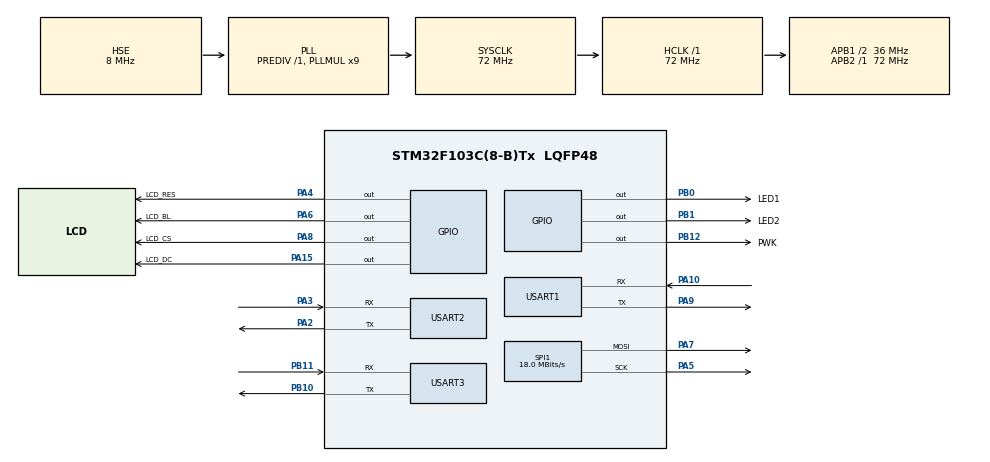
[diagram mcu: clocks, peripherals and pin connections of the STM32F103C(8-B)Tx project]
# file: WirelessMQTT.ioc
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Dma.Request0=SPI1_TX
Dma.SPI1_TX.0.Direction=DMA_MEMORY_TO_PERIPH
Dma.SPI1_TX.0.Instance=DMA1_Channel3
Dma.SPI1_TX.0.MemDataAlignment=DMA_MDATAALIGN_BYTE
Dma.SPI1_TX.0.MemInc=DMA_MINC_ENABLE
Dma.SPI1_TX.0.Mode=DMA_NORMAL
Dma.SPI1_TX.0.PeriphDataAlignment=DMA_PDATAALIGN_BYTE
Dma.SPI1_TX.0.PeriphInc=DMA_PINC_DISABLE
Dma.SPI1_TX.0.Priority=DMA_PRIORITY_LOW
Mcu.Family=STM32F1
Mcu.Name=STM32F103C(8-B)Tx
Mcu.Package=LQFP48
NVIC.DMA1_Channel3_IRQn=true\:0\:0\:false\:false\:true\:false\:true
NVIC.PriorityGroup=NVIC_PRIORITYGROUP_4
NVIC.TIM3_IRQn=true\:1\:0\:true\:false\:true\:true\:true
NVIC.USART1_IRQn=true\:2\:0\:true\:false\:true\:true\:true
NVIC.USART2_IRQn=true\:0\:0\:false\:false\:true\:true\:true
NVIC.USART3_IRQn=true\:0\:0\:false\:false\:true\:true\:true
PA10.Mode=Asynchronous
PA10.Signal=USART1_RX
PA13.Mode=Serial_Wire
PA13.Signal=SYS_JTMS-SWDIO
PA14.Mode=Serial_Wire
PA14.Signal=SYS_JTCK-SWCLK
PA15.GPIO_Label=LCD_DC
PA15.Signal=GPIO_Output
PA2.Mode=Asynchronous
PA2.Signal=USART2_TX
PA3.Mode=Asynchronous
PA3.Signal=USART2_RX
PA4.GPIO_Label=LCD_RES
PA4.Signal=GPIO_Output
PA5.Mode=TX_Only_Simplex_Unidirect_Master
PA5.Signal=SPI1_SCK
PA6.GPIO_Label=LCD_BL
PA6.Signal=GPIO_Output
PA7.Mode=TX_Only_Simplex_Unidirect_Master
PA7.Signal=SPI1_MOSI
PA8.GPIO_Label=LCD_CS
PA8.Signal=GPIO_Output
PA9.Mode=Asynchronous
PA9.Signal=USART1_TX
PB0.GPIO_Label=LED1
PB0.Signal=GPIO_Output
PB1.GPIO_Label=LED2
PB1.Signal=GPIO_Output
PB10.Mode=Asynchronous
PB10.Signal=USART3_TX
PB11.Mode=Asynchronous
PB11.Signal=USART3_RX
PB12.GPIO_Label=PWK
PB12.Signal=GPIO_Output
PC14-OSC32_IN.Mode=LSE-External-Oscillator
PC14-OSC32_IN.Signal=RCC_OSC32_IN
PC15-OSC32_OUT.Mode=LSE-External-Oscillator
PC15-OSC32_OUT.Signal=RCC_OSC32_OUT
PD0-OSC_IN.Mode=HSE-External-Oscillator
PD0-OSC_IN.Signal=RCC_OSC_IN
PD1-OSC_OUT.Mode=HSE-External-Oscillator
PD1-OSC_OUT.Signal=RCC_OSC_OUT
ProjectManager.HeapSize=0x200
ProjectManager.StackSize=0x400
ProjectManager.TargetToolchain=MDK-ARM V5
RCC.AHBFreq_Value=72000000
RCC.APB1CLKDivider=RCC_HCLK_DIV2
RCC.APB1Freq_Value=36000000
RCC.APB1TimFreq_Value=72000000
RCC.APB2Freq_Value=72000000
RCC.APB2TimFreq_Value=72000000
RCC.HCLKFreq_Value=72000000
RCC.PLLMUL=RCC_PLL_MUL9
RCC.PLLSourceVirtual=RCC_PLLSOURCE_HSE
RCC.SYSCLKFreq_VALUE=72000000
RCC.SYSCLKSource=RCC_SYSCLKSOURCE_PLLCLK
RCC.USBFreq_Value=72000000
SPI1.BaudRatePrescaler=SPI_BAUDRATEPRESCALER_4
SPI1.CLKPhase=SPI_PHASE_2EDGE
SPI1.CLKPolarity=SPI_POLARITY_HIGH
SPI1.CalculateBaudRate=18.0 MBits/s
SPI1.Direction=SPI_DIRECTION_2LINES
SPI1.Mode=SPI_MODE_MASTER
SPI1.VirtualType=VM_MASTER
TIM3.Period=999
TIM3.Prescaler=71
USART1.VirtualMode=VM_ASYNC
USART2.VirtualMode=VM_ASYNC
USART3.VirtualMode=VM_ASYNC
VP_TIM3_VS_ClockSourceINT.Mode=Internal
board=custom

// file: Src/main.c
/* USER CODE BEGIN Header */
/**
  ******************************************************************************
  * @file           : main.c
  * @brief          : Main program body
  ******************************************************************************
  * @attention
  *
  * <h2><center>&copy; Copyright (c) 2022 STMicroelectronics.
  * All rights reserved.</center></h2>
  *
  * This software component is licensed by ST under BSD 3-Clause license,
  * the "License"; You may not use this file except in compliance with the
  * License. You may obtain a copy of the License at:
  *                        opensource.org/licenses/BSD-3-Clause
  *
  ******************************************************************************
  */
/* USER CODE END Header */
#include "main.h"
#include "dma.h"
#include "spi.h"
#include "tim.h"
#include "usart.h"
#include "gpio.h"

/* USER CODE BEGIN Includes */
#include "misc.h"
#include "at_command.h"
#include "mqtt_app.h"
#include "my_lcd.h"
#include "my_lcd_init.h"
#include <stdio.h>
#include <stdlib.h>
#include "gui.h"
#include "pic.h"
#include "bsp_bh1750.h"
#include "bsp_sgp30.h"
#include "24l01.h"
/* USER CODE END Includes */

/* USER CODE BEGIN PTD */
#define printf(...)
/* USER CODE END PTD */

void SystemClock_Config(void);
/* USER CODE BEGIN PFP */

mqtt_app_t  mqttAppObj;
uint16_t timer_1s=1000;
uint8_t timer_100ms=100;
uint8_t timer_10ms=10;

uint32_t timer=0;

uint32_t systick=0;
u8 tmp_buf[6];
/* USER CODE END PFP */

int main(void)
{
  /* USER CODE BEGIN 1 */
   uint8_t data=3;

  /* USER CODE END 1 */

  /* MCU Configuration--------------------------------------------------------*/

  /* Reset of all peripherals, Initializes the Flash interface and the Systick. */
  HAL_Init();

  /* Configure the system clock */
  SystemClock_Config();

  /* Initialize all configured peripherals */
  MX_GPIO_Init();

  MX_DMA_Init();
  MX_USART1_UART_Init();
  MX_USART2_UART_Init();
  MX_USART3_UART_Init();
  MX_TIM3_Init();
  MX_SPI1_Init();

  /* USER CODE BEGIN 2 */

    printf("system start......\r\n");
    dwt_init();

    iic_ll_init();

    GUI_Init();  //初始化
    GUI_SetBkColor(GUI_WHITE);

    GUI_Clear();
    //GUI_DispStringAt("hello ucGUI",0,0);
    //GUI_DispChars('*',30);

    LCD_ShowPicture(0,0,120,160,gImage_background);
//    LCD_ShowPicture(64,10,32,32,gImage_signal);
//    LCD_ShowPicture(10,90,32,32,gImage_planet);
//    LCD_ShowPicture(64,90,20,20,gImage_tree);
//    GUI_Delay(5000);

//    LCD_ShowPicture(0,0,20,20,gImage_lte_signal);
//    LCD_ShowPicture(40,0,20,20,gImage_wifi_signal);

    //GUI_SetBkColor(GUI_GREEN);
    //GUI_Clear();

    //draw lte logo
    GUI_SetPenSize(4);
    GUI_SetColor(GUI_BLACK);
    GUI_DrawLine(1,16,1,20);
    GUI_DrawLine(6,12,6,20);
    GUI_DrawLine(11,6,11,20);
    GUI_DrawLine(16,1,16,20);

    //draw wifi logo
    GUI_SetPenSize(2);
    GUI_DrawArc(50,20,1,1,60,120);
    GUI_DrawArc(50,20,6,6,60,120);
    GUI_DrawArc(50,20,12,12,60,120);
    GUI_DrawArc(50,20,17,17,60,120);

    GUI_SetBkColor(GUI_BLACK);
    GUI_SetColor(GUI_WHITE);

//    GUI_SetTextMode(GUI_TM_NORMAL);
//    GUI_DispStringHCenterAt("GUI_TM_NORMAL",64,30);
//    GUI_SetTextMode(GUI_TM_REV);
//    GUI_DispStringHCenterAt("GUI_TM_REV",64,60);
    GUI_SetTextMode(GUI_TM_TRANS);
//    GUI_DispStringHCenterAt("GUI_TM_TRANS",64,90);
//    GUI_SetTextMode(GUI_TM_XOR);
//    GUI_DispStringHCenterAt("GUI_TM_XOR",64,120);
        //GUI_SetTextMode(GUI_TM_NORMAL);

    //LCD_Fill(0,0,100,100,BLUE);
    //LCD_ShowChinese(20,20,"空气质量监测仪",RED,WHITE,16,0);
    GUI_SetFont(&GUI_Font16B_ASCII);
    GUI_DispStringAt("System Init......",2,30);
    //GUI_SetFont(&GUI_FontComic18B_1);
    //GUI_DispStringHCenterAt("System Init......",64,50);
//    GUI_SetFont(&GUI_Font4x6);
//    GUI_DispStringHCenterAt("System Init......",64,40);
//    GUI_SetFont(&GUI_Font6x8);
//    GUI_DispStringAt("System Init......",2,50);
//    GUI_SetFont(&GUI_Font10S_ASCII);
//    GUI_DispStringAtCEOL("System Init......",5,60);
//    GUI_SetFont(&GUI_Font10_ASCII);
//    GUI_DispStringHCenterAt("System Init......",64,70);
//    GUI_SetFont(&GUI_Font16_ASCII);
//    GUI_DispStringHCenterAt("System Init......",64,80);
//    GUI_SetFont(&GUI_Font16B_ASCII);
//    GUI_DispStringHCenterAt("System Init......",64,100);
//    GUI_SetFont(&GUI_Font8x16);
//    GUI_DispStringAtCEOL("System Init......",4,120);

    GUI_SetFont(&GUI_Font8x16);
    GUI_DispStringAtCEOL("SGP30 Init......",0,50);
    sgp30_init();
    sgp30_get_feature();
    sgp30_get_id();

    if(sgp30.sgp30_status == SGP30_STATUS_OK)
        GUI_DispStringAtCEOL("SGP30 OK......",0,50);
    else
        GUI_DispStringAtCEOL("SGP30 Error......",0,50);
    delay_ms(500);

    GUI_DispStringAtCEOL("BH1750 Init......",0,70);

    bh1750_init();
    bh1750_start();
    if(brigh.brigh_status==BRIGH_STATUS_OK)
        GUI_DispStringAtCEOL("BH1750 OK......",0,70);
    else
        GUI_DispStringAtCEOL("BH1750 Error......",0,70);
    delay_ms(500);

    GUI_DispStringAt("LTE check......",0,90);
    if(lte_check())
        GUI_DispStringAt("LTE check OK......",0,90);
    else
        GUI_DispStringAt("LTE check Error......",0,90);
    delay_ms(500);

    GUI_DispStringAt("ESP8266 check......",0,110);
    if(esp8266_check())
        GUI_DispStringAt("wifi check OK......",0,110);
    else
        GUI_DispStringAt("wifi check Error......",0,110);
    delay_ms(500);

    NRF24L01_Init();    		    	//初始化NRF24L01
    GUI_DispStringAt("24L01 check......",0,130);
    if(NRF24L01_Check())
        GUI_DispStringAt("24L01 check Error......",0,130);
    else
        GUI_DispStringAt("24L01 check OK......",0,130);
    NRF24L01_RX_Mode();

    data=3;
    while(data >0)
    {
        LED1_ON;
        LED2_OFF;
        delay_ms(500);
        LED1_OFF;
        LED2_ON;
        delay_ms(500);

        data--;
    }

    mqtt_app_init(&mqttAppObj,MQTT_TRANS_LTE);
    delay_ms(500);
    HAL_TIM_Base_Start_IT(&htim3);

    GUI_Clear();
    GUI_SetTextMode(GUI_TM_NORMAL);
    GUI_SetFont(&GUI_Font8x16);
    GUI_SetBkColor(GUI_BLUE);
    GUI_DispStringAt("CO2eq:",10,10);
    GUI_DispStringAt("ppm",105,10);
    GUI_DispStringAt("TVOC :",10,30);
    GUI_DispStringAt("ppb",105,30);

    GUI_DispStringAt("Brigh:",10,50);
    GUI_DispStringAt("lux",105,50);
    GUI_DispStringAt("PM25 :",10,70);
    GUI_DispStringAt("ug/m3",105,70);
  /* USER CODE END 2 */

  /* Infinite loop */
  while (1)
  {

    /* USER CODE BEGIN 3 */
      if(timer_10ms == 0)
      {
          timer_10ms=10;

          sgp30_get_meas();
          bh1750_read();

        GUI_GotoXY(60,10);
        GUI_DispDecSpace(sgp30.sgp30Data.co2,5);

        GUI_GotoXY(60,30);
        GUI_DispDecSpace(sgp30.sgp30Data.tvoc,5);

        GUI_GotoXY(60,50);
        GUI_DispFloat(brigh.lux,5);
      }

    if(timer_1s == 0)
    {
        timer_1s=1000;
        timer++;
        systick++;
        bh1750_read();
        if(timer>=200)
        {
            timer=0;
            if(mqttAppObj.MQStatus == MQTT_STATUS_SERVER_CONNECT_OK)
                mqtt_app_publish(&mqttAppObj,MQTT_CLIENT_USER_PUB1);
            else
                printf("connect server fail!\r\n");
        }

        GUI_DispDecAt(data++,10,100,3);
    }

    if(NRF24L01_RxPacket(tmp_buf)==0)//一旦接收到信息,则显示出来.
    {
        tmp_buf[5]=0;//加入字符串结束符
        //LCD_ShowString(0,190,lcddev.width-1,32,16,tmp_buf);
        GUI_DispStringAt(tmp_buf,10,120);
    }
    //HAL_Delay(5000);

//    if(systick>30)
//    {
//        HAL_PWR_EnableWakeUpPin(PWR_WAKEUP_PIN1);
//        __HAL_PWR_CLEAR_FLAG(PWR_FLAG_WU);
//        __HAL_PWR_CLEAR_FLAG(PWR_FLAG_SB);
//        HAL_PWR_EnterSTANDBYMode();
//    }

  }
  /* USER CODE END 3 */
}

void SystemClock_Config(void)
{
  RCC_OscInitTypeDef RCC_OscInitStruct = {0};
  RCC_ClkInitTypeDef RCC_ClkInitStruct = {0};

  /** Initializes the RCC Oscillators according to the specified parameters
  * in the RCC_OscInitTypeDef structure.
  */
  RCC_OscInitStruct.OscillatorType = RCC_OSCILLATORTYPE_HSE;
  RCC_OscInitStruct.HSEState = RCC_HSE_ON;
  RCC_OscInitStruct.HSEPredivValue = RCC_HSE_PREDIV_DIV1;
  RCC_OscInitStruct.HSIState = RCC_HSI_ON;
  RCC_OscInitStruct.PLL.PLLState = RCC_PLL_ON;
  RCC_OscInitStruct.PLL.PLLSource = RCC_PLLSOURCE_HSE;
  RCC_OscInitStruct.PLL.PLLMUL = RCC_PLL_MUL9;
  if (HAL_RCC_OscConfig(&RCC_OscInitStruct) != HAL_OK)
  {
    Error_Handler();
  }
  /** Initializes the CPU, AHB and APB buses clocks
  */
  RCC_ClkInitStruct.ClockType = RCC_CLOCKTYPE_HCLK|RCC_CLOCKTYPE_SYSCLK
                              |RCC_CLOCKTYPE_PCLK1|RCC_CLOCKTYPE_PCLK2;
  RCC_ClkInitStruct.SYSCLKSource = RCC_SYSCLKSOURCE_PLLCLK;
  RCC_ClkInitStruct.AHBCLKDivider = RCC_SYSCLK_DIV1;
  RCC_ClkInitStruct.APB1CLKDivider = RCC_HCLK_DIV2;
  RCC_ClkInitStruct.APB2CLKDivider = RCC_HCLK_DIV1;

  if (HAL_RCC_ClockConfig(&RCC_ClkInitStruct, FLASH_LATENCY_2) != HAL_OK)
  {
    Error_Handler();
  }
}

void Error_Handler(void)
{
}

/************************ (C) COPYRIGHT STMicroelectronics *****END OF FILE****/
